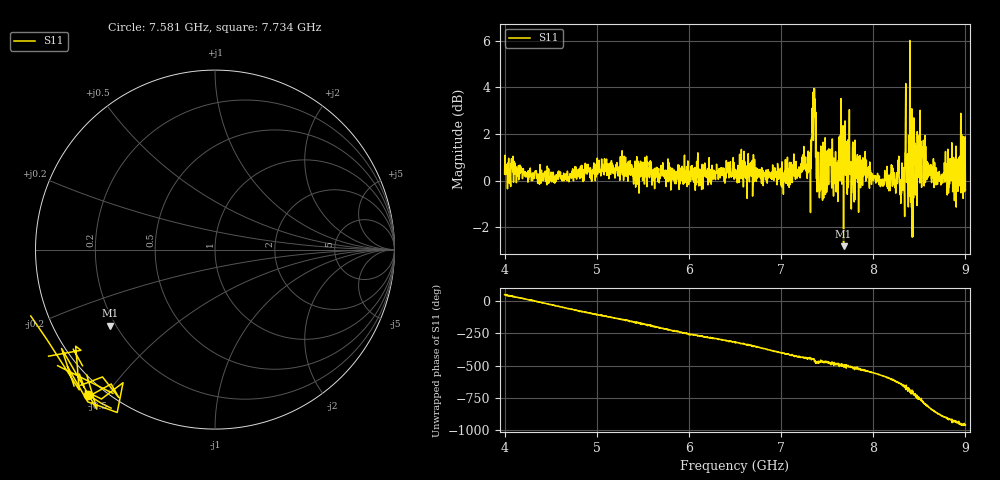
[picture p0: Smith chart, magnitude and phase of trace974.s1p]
! Created with skrf 1.8.0 (http://scikit-rf.org).
# Hz S RI R 50.0
!freq ReS11 ImS11
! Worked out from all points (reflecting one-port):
!   1601 points, 4 GHz to 9 GHz, reference 50 ohm
!   lowest |S11| = -2.8 dB at 7.678 GHz (marker M1), VSWR 6.22, Z = 8.85 - j15.7 ohm
!   phase of S11 starts at 53 deg and turns -1015 deg over the sweep
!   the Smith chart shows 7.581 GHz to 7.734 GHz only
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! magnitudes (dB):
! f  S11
! 4 GHz  0.3
! 4.625 GHz  0.0
! 5.25 GHz  0.0
! 5.875 GHz  0.2
! 6.5 GHz  0.2
! 7.125 GHz  0.6
! 7.294 GHz  1.3
! 7.353 GHz  2.5
! 7.409 GHz  -0.1
! 7.538 GHz  0.7
! 7.594 GHz  0.5
! 7.65 GHz  3.5
! 7.678 GHz  -2.8
! 7.703 GHz  1.7
! 7.75 GHz  0.3
! 7.775 GHz  1.4
! 7.869 GHz  0.8
! 8.316 GHz  0.4
! 8.328 GHz  0.6
! 8.375 GHz  1.1
! 8.406 GHz  -0.9
! 8.447 GHz  1.9
! 8.459 GHz  -0.6
! 8.522 GHz  0.6
! 8.722 GHz  0.0
! 8.9 GHz  -1.1
! 8.953 GHz  -0.5
! 9 GHz  -0.4
